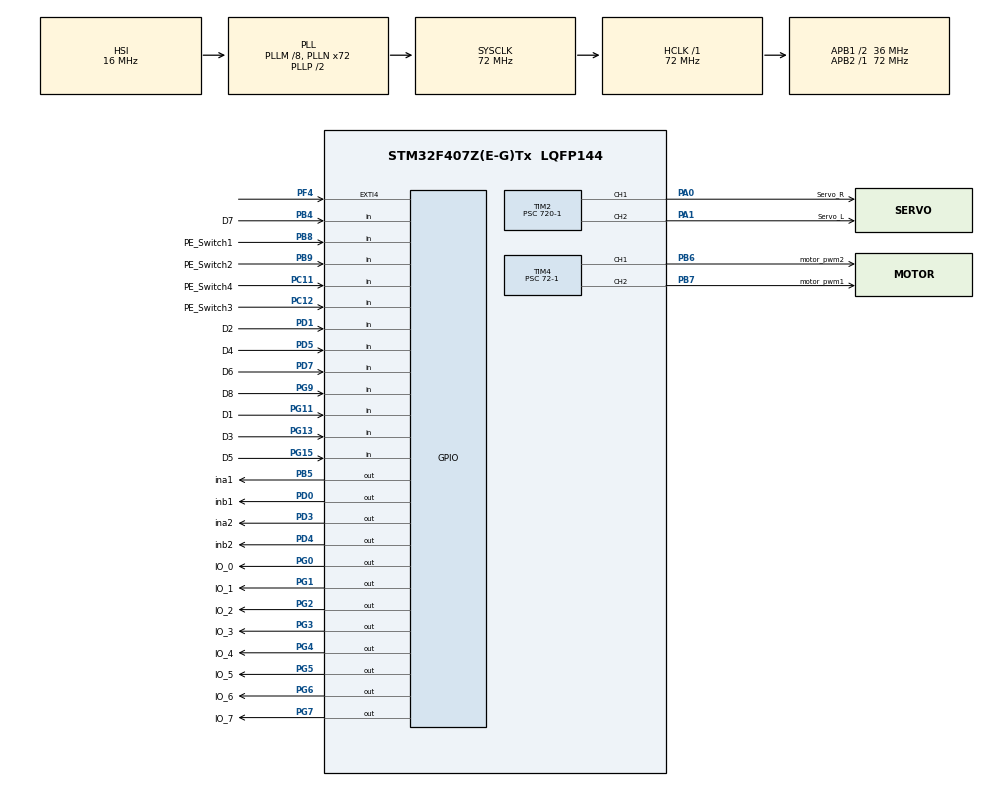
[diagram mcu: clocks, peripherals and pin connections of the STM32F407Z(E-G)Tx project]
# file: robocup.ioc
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Mcu.Family=STM32F4
Mcu.Name=STM32F407Z(E-G)Tx
Mcu.Package=LQFP144
NVIC.EXTI4_IRQn=true\:0\:0\:false\:false\:true\:true\:true\:true
NVIC.PriorityGroup=NVIC_PRIORITYGROUP_4
PA0-WKUP.GPIO_Label=Servo_R
PA0-WKUP.GPIO_ModeDefaultPP=GPIO_MODE_AF_PP
PA0-WKUP.GPIO_PuPd=GPIO_NOPULL
PA0-WKUP.GPIO_Speed=GPIO_SPEED_FREQ_LOW
PA0-WKUP.Signal=S_TIM2_CH1_ETR
PA1.GPIO_Label=Servo_L
PA1.GPIO_ModeDefaultPP=GPIO_MODE_AF_PP
PA1.GPIO_PuPd=GPIO_NOPULL
PA1.GPIO_Speed=GPIO_SPEED_FREQ_LOW
PA1.Signal=S_TIM2_CH2
PA13.Mode=Serial_Wire
PA13.Signal=SYS_JTMS-SWDIO
PA14.Mode=Serial_Wire
PA14.Signal=SYS_JTCK-SWCLK
PB4.GPIO_Label=D7
PB4.Signal=GPIO_Input
PB5.GPIO_Label=ina1
PB5.Signal=GPIO_Output
PB6.GPIO_Label=motor_pwm2
PB6.Signal=S_TIM4_CH1
PB7.GPIO_Label=motor_pwm1
PB7.Signal=S_TIM4_CH2
PB8.GPIO_Label=PE_Switch1
PB8.Signal=GPIO_Input
PB9.GPIO_Label=PE_Switch2
PB9.Signal=GPIO_Input
PC11.GPIO_Label=PE_Switch4
PC11.Signal=GPIO_Input
PC12.GPIO_Label=PE_Switch3
PC12.Signal=GPIO_Input
PD0.GPIO_Label=inb1
PD0.Signal=GPIO_Output
PD1.GPIO_Label=D2
PD1.Signal=GPIO_Input
PD3.GPIO_Label=ina2
PD3.Signal=GPIO_Output
PD4.GPIO_Label=inb2
PD4.Signal=GPIO_Output
PD5.GPIO_Label=D4
PD5.Signal=GPIO_Input
PD7.GPIO_Label=D6
PD7.Signal=GPIO_Input
PF4.Signal=GPXTI4
PG0.GPIO_Label=IO_0
PG0.Signal=GPIO_Output
PG1.GPIO_Label=IO_1
PG1.Signal=GPIO_Output
PG11.GPIO_Label=D1
PG11.Signal=GPIO_Input
PG13.GPIO_Label=D3
PG13.Signal=GPIO_Input
PG15.GPIO_Label=D5
PG15.Signal=GPIO_Input
PG2.GPIO_Label=IO_2
PG2.Signal=GPIO_Output
PG3.GPIO_Label=IO_3
PG3.Signal=GPIO_Output
PG4.GPIO_Label=IO_4
PG4.Signal=GPIO_Output
PG5.GPIO_Label=IO_5
PG5.Signal=GPIO_Output
PG6.GPIO_Label=IO_6
PG6.Signal=GPIO_Output
PG7.GPIO_Label=IO_7
PG7.Signal=GPIO_Output
PG9.GPIO_Label=D8
PG9.Signal=GPIO_Input
PH0-OSC_IN.Mode=HSE-External-Oscillator
PH0-OSC_IN.Signal=RCC_OSC_IN
PH1-OSC_OUT.Mode=HSE-External-Oscillator
PH1-OSC_OUT.Signal=RCC_OSC_OUT
ProjectManager.HeapSize=0x200
ProjectManager.StackSize=0x400
ProjectManager.TargetToolchain=MDK-ARM V5.32
RCC.48MHZClocksFreq_Value=36000000
RCC.AHBFreq_Value=72000000
RCC.APB1CLKDivider=RCC_HCLK_DIV2
RCC.APB1Freq_Value=36000000
RCC.APB1TimFreq_Value=72000000
RCC.APB2Freq_Value=72000000
RCC.APB2TimFreq_Value=72000000
RCC.CortexFreq_Value=72000000
RCC.HCLKFreq_Value=72000000
RCC.HSE_VALUE=25000000
RCC.HSI_VALUE=16000000
RCC.LSE_VALUE=32768
RCC.PLLM=8
RCC.PLLN=72
RCC.SYSCLKFreq_VALUE=72000000
RCC.SYSCLKSource=RCC_SYSCLKSOURCE_PLLCLK
RCC.VCOOutputFreq_Value=144000000
SH.S_TIM2_CH1_ETR.0=TIM2_CH1,PWM Generation1 CH1
SH.S_TIM2_CH2.0=TIM2_CH2,PWM Generation2 CH2
SH.S_TIM4_CH1.0=TIM4_CH1,PWM Generation1 CH1
SH.S_TIM4_CH2.0=TIM4_CH2,PWM Generation2 CH2
TIM2.AutoReloadPreload=TIM_AUTORELOAD_PRELOAD_ENABLE
TIM2.Channel-PWM\ Generation1\ CH1=TIM_CHANNEL_1
TIM2.Channel-PWM\ Generation2\ CH2=TIM_CHANNEL_2
TIM2.Period=2000-1
TIM2.Prescaler=720-1
TIM4.Channel-PWM\ Generation1\ CH1=TIM_CHANNEL_1
TIM4.Channel-PWM\ Generation2\ CH2=TIM_CHANNEL_2
TIM4.Period=1000-1
TIM4.Prescaler=72-1
VP_TIM2_VS_ClockSourceINT.Mode=Internal
board=custom

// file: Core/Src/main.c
/* USER CODE BEGIN Header */
/**
  ******************************************************************************
  * @file           : main.c
  * @brief          : Main program body
  ******************************************************************************
  * @attention
  *
  * Copyright (c) 2024 STMicroelectronics.
  * All rights reserved.
  *
  * This software is licensed under terms that can be found in the LICENSE file
  * in the root directory of this software component.
  * If no LICENSE file comes with this software, it is provided AS-IS.
  *
  ******************************************************************************
  */
/* USER CODE END Header */
#include "main.h"
#include "tim.h"
#include "gpio.h"

/* USER CODE BEGIN Includes */
#include "car.h"
#include "sound.h"
#include "key.h"
#include "line.h"
/* USER CODE END Includes */

/* USER CODE BEGIN PTD */
int total = 0;
int D1 = 0;
int D2 = 0;
int D3 = 0;
int D4 = 0;
int D5 = 0;
int D6 = 0;
int D7 = 0;
int D8 = 0;
/* USER CODE END PTD */

/* USER CODE BEGIN PV */
void pwm_start(void);
/* USER CODE END PV */

void SystemClock_Config(void);

int main(void)
{

  /* MCU Configuration--------------------------------------------------------*/

  /* Reset of all peripherals, Initializes the Flash interface and the Systick. */
  HAL_Init();

  /* Configure the system clock */
  SystemClock_Config();

  /* Initialize all configured peripherals */
  MX_GPIO_Init();
  MX_TIM2_Init();
  MX_TIM4_Init();
  /* USER CODE BEGIN 2 */
	car_init();
  sound_init();
	pwm_start();

  /* USER CODE END 2 */

  /* Infinite loop */
  /* USER CODE BEGIN WHILE */
  while (1)
  {
		total=turn_check();
		turn(total);
    /* USER CODE END WHILE */

  }
}

void SystemClock_Config(void)
{
  RCC_OscInitTypeDef RCC_OscInitStruct = {0};
  RCC_ClkInitTypeDef RCC_ClkInitStruct = {0};

  /** Configure the main internal regulator output voltage
  */
  __HAL_RCC_PWR_CLK_ENABLE();
  __HAL_PWR_VOLTAGESCALING_CONFIG(PWR_REGULATOR_VOLTAGE_SCALE1);

  /** Initializes the RCC Oscillators according to the specified parameters
  * in the RCC_OscInitTypeDef structure.
  */
  RCC_OscInitStruct.OscillatorType = RCC_OSCILLATORTYPE_HSI;
  RCC_OscInitStruct.HSIState = RCC_HSI_ON;
  RCC_OscInitStruct.HSICalibrationValue = RCC_HSICALIBRATION_DEFAULT;
  RCC_OscInitStruct.PLL.PLLState = RCC_PLL_ON;
  RCC_OscInitStruct.PLL.PLLSource = RCC_PLLSOURCE_HSI;
  RCC_OscInitStruct.PLL.PLLM = 8;
  RCC_OscInitStruct.PLL.PLLN = 72;
  RCC_OscInitStruct.PLL.PLLP = RCC_PLLP_DIV2;
  RCC_OscInitStruct.PLL.PLLQ = 4;
  if (HAL_RCC_OscConfig(&RCC_OscInitStruct) != HAL_OK)
  {
    Error_Handler();
  }

  /** Initializes the CPU, AHB and APB buses clocks
  */
  RCC_ClkInitStruct.ClockType = RCC_CLOCKTYPE_HCLK|RCC_CLOCKTYPE_SYSCLK
                              |RCC_CLOCKTYPE_PCLK1|RCC_CLOCKTYPE_PCLK2;
  RCC_ClkInitStruct.SYSCLKSource = RCC_SYSCLKSOURCE_PLLCLK;
  RCC_ClkInitStruct.AHBCLKDivider = RCC_SYSCLK_DIV1;
  RCC_ClkInitStruct.APB1CLKDivider = RCC_HCLK_DIV2;
  RCC_ClkInitStruct.APB2CLKDivider = RCC_HCLK_DIV1;

  if (HAL_RCC_ClockConfig(&RCC_ClkInitStruct, FLASH_LATENCY_2) != HAL_OK)
  {
    Error_Handler();
  }
}

/* USER CODE BEGIN 4 */
void pwm_start(void){

	HAL_TIM_PWM_Start(&htim2,TIM_CHANNEL_1);    //servo_r
	HAL_TIM_PWM_Start(&htim2,TIM_CHANNEL_2);		//servo_l
	HAL_TIM_PWM_Start(&htim4,TIM_CHANNEL_1);    //motor_pwm2
	HAL_TIM_PWM_Start(&htim4,TIM_CHANNEL_2);    //motor_pwm1

}

/* USER CODE END 4 */

void Error_Handler(void)
{
  __disable_irq();
  while (1)
  {
  }
}
